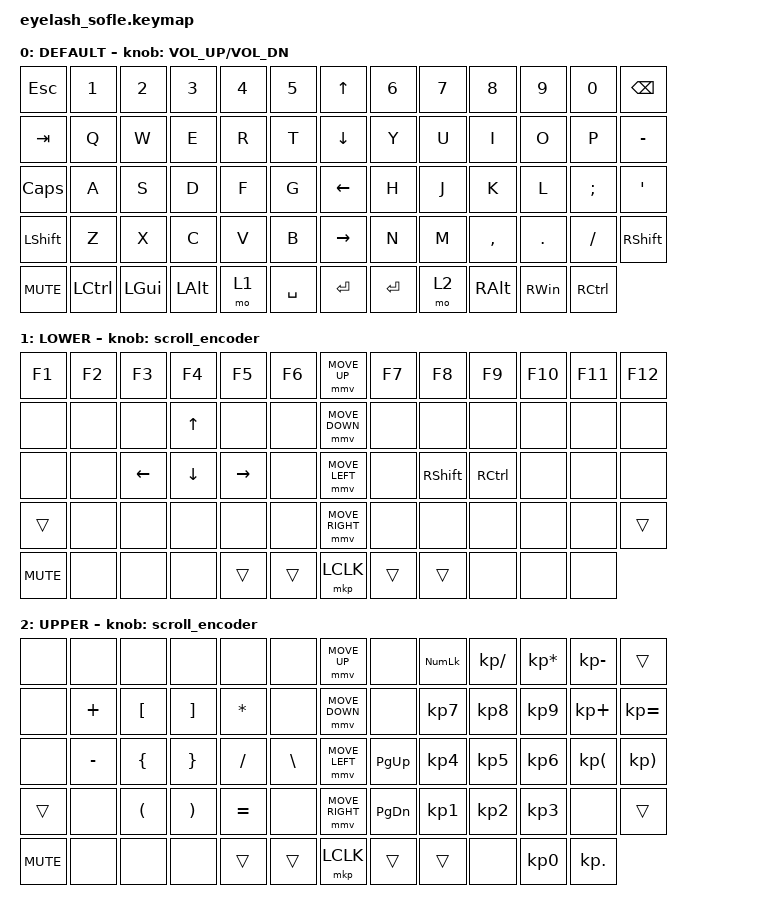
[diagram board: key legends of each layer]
#define ZMK_POINTING_DEFAULT_MOVE_VAL 1200  // 600
#define ZMK_POINTING_DEFAULT_SCRL_VAL 25   // 10

#include <input/processors.dtsi>
#include <zephyr/dt-bindings/input/input-event-codes.h>
#include <behaviors.dtsi>
#include <dt-bindings/zmk/keys.h>
#include <dt-bindings/zmk/pointing.h>

&mmv_input_listener { input-processors = <&zip_xy_scaler 2 1>; };

&msc_input_listener { input-processors = <&zip_scroll_scaler 2 1>; };

&msc {
    acceleration-exponent = <1>;      // 0
    time-to-max-speed-ms = <100>;       // 300
    delay-ms = <0>;                   // 0
};

&mmv {
    time-to-max-speed-ms = <500>;
    acceleration-exponent = <1>;
    trigger-period-ms = <16>;
};

/ {
    scroll_encoder: scroll_encoder {
        compatible = "zmk,behavior-sensor-rotate";
        #sensor-binding-cells = <0>;
        bindings = <&msc SCRL_DOWN>, <&msc SCRL_UP>;

        tap-ms = <100>;
    };

    behaviors {
    };

    combos {
        compatible = "zmk,combos";

        Show_layer_0 {
            bindings = <&kp LA(RA(N0))>;
            key-positions = <39 51>;
            slow-release;
            timeout-ms = <100>;
            layers = <0>;
        };

        Show_layer_1 {
            bindings = <&kp RA(LA(N1))>;
            key-positions = <51 39>;
            slow-release;
            timeout-ms = <100>;
            layers = <1>;
        };

        Show_layer_2 {
            bindings = <&kp RA(LA(N2))>;
            key-positions = <51 39>;
            slow-release;
            timeout-ms = <100>;
            layers = <2>;
        };
    };

    keymap {
        compatible = "zmk,keymap";

        DEFAULT {
            bindings = <
&kp ESC     &kp N1     &kp N2        &kp N3        &kp N4  &kp N5       &kp UP_ARROW     &kp N6     &kp N7  &kp N8         &kp N9         &kp N0             &kp BACKSPACE
&kp TAB     &kp Q      &kp W         &kp E         &kp R   &kp T        &kp DOWN_ARROW   &kp Y      &kp U   &kp I          &kp O          &kp P              &kp MINUS
&kp CAPS    &kp A      &kp S         &kp D         &kp F   &kp G        &kp LEFT_ARROW   &kp H      &kp J   &kp K          &kp L          &kp SEMI           &kp APOS
&kp LSHFT   &kp Z      &kp X         &kp C         &kp V   &kp B        &kp RIGHT_ARROW  &kp N      &kp M   &kp COMMA      &kp DOT        &kp FSLH           &kp RIGHT_SHIFT
&kp C_MUTE  &kp LCTRL  &kp LEFT_GUI  &kp LEFT_ALT  &mo 1   &kp SPACE    &kp ENTER        &kp ENTER  &mo 2   &kp RIGHT_ALT  &kp RIGHT_WIN  &kp RIGHT_CONTROL
            >;

            sensor-bindings = <&inc_dec_kp C_VOLUME_UP C_VOL_DN>;
            display-name = "DEFAULT";
        };

        LOWER {
            bindings = <
&kp F1      &kp F2  &kp F3    &kp F4    &kp F5     &kp F6    &mmv MOVE_UP     &kp F7  &kp F8     &kp F9             &kp F10  &kp F11  &kp F12
&none       &none   &none     &kp UP    &none      &none     &mmv MOVE_DOWN   &none   &none      &none              &none    &none    &none
&none       &none   &kp LEFT  &kp DOWN  &kp RIGHT  &none     &mmv MOVE_LEFT   &none   &kp RSHFT  &kp RIGHT_CONTROL  &none    &none    &none
&trans      &none   &none     &none     &none      &none     &mmv MOVE_RIGHT  &none   &none      &none              &none    &none    &trans
&kp C_MUTE  &none   &none     &none     &trans     &trans    &mkp LCLK        &trans  &trans     &none              &none    &none
            >;

            sensor-bindings = <&scroll_encoder>;
        };

        UPPER {
            bindings = <
&none       &none      &none                 &none                  &none      &none            &mmv MOVE_UP     &none          &kp KP_NUMLOCK  &kp KP_SLASH  &kp KP_MULTIPLY  &kp KP_SUBTRACT          &trans
&none       &kp PLUS   &kp LBKT              &kp RBKT               &kp ASTRK  &none            &mmv MOVE_DOWN   &none          &kp KP_N7       &kp KP_N8     &kp KP_N9        &kp KP_PLUS              &kp KP_EQUAL
&none       &kp MINUS  &kp LEFT_BRACE        &kp RIGHT_BRACE        &kp SLASH  &kp BACKSLASH    &mmv MOVE_LEFT   &kp PG_UP      &kp KP_N4       &kp KP_N5     &kp KP_N6        &kp KP_LEFT_PARENTHESIS  &kp KP_RIGHT_PARENTHESIS
&trans      &none      &kp LEFT_PARENTHESIS  &kp RIGHT_PARENTHESIS  &kp EQUAL  &none            &mmv MOVE_RIGHT  &kp PAGE_DOWN  &kp KP_N1       &kp KP_N2     &kp KP_N3        &none                    &trans
&kp C_MUTE  &none      &none                 &none                  &trans     &trans           &mkp LCLK        &trans         &trans          &none         &kp KP_N0        &kp KP_DOT
            >;

            sensor-bindings = <&scroll_encoder>;
        };
    };
};
